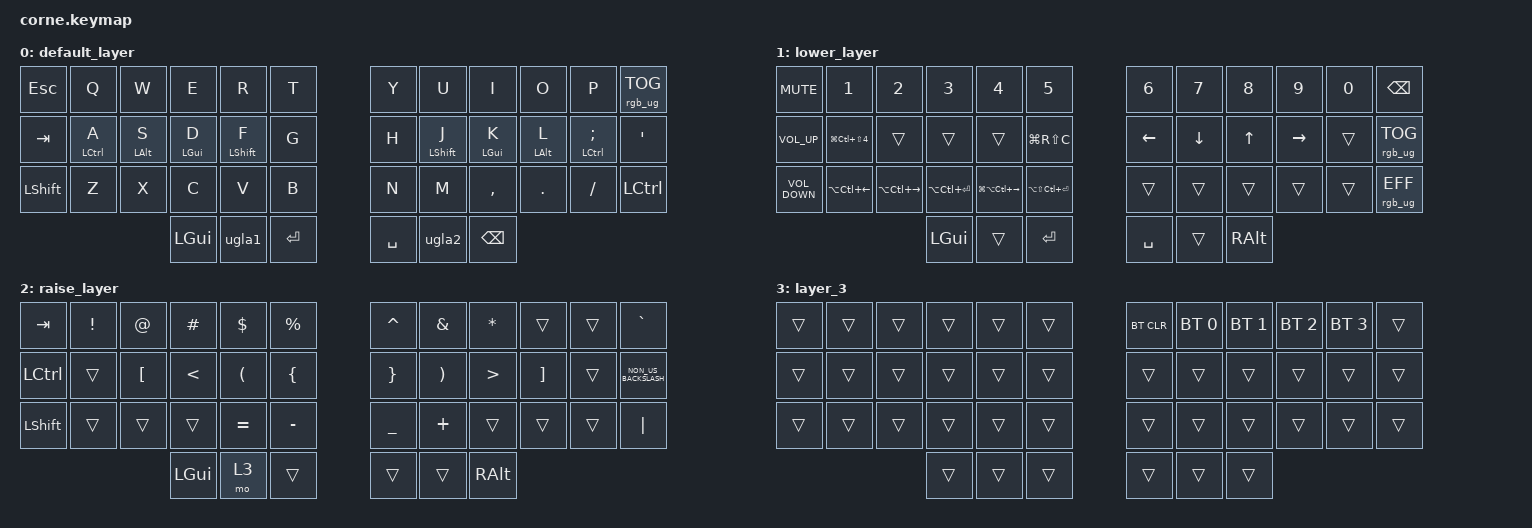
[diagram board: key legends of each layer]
/*
 * Copyright (c) 2020 The ZMK Contributors
 *
 * SPDX-License-Identifier: MIT
 */

#include <behaviors.dtsi>
#include <dt-bindings/zmk/bt.h>
#include <dt-bindings/zmk/keys.h>
#include <dt-bindings/zmk/rgb.h>

/ {
    behaviors {
        hm: hm {
            compatible = "zmk,behavior-hold-tap";
            label = "Homerow mod";
            bindings = <&kp>, <&kp>;

            #binding-cells = <2>;
            tapping-term-ms = <500>;
            quick-tap-ms = <200>;
            flavor = "tap-preferred";
            require-prior-idle-ms = <125>;
        };
    };

    macros {
        ugla1: ugla1 {
            compatible = "zmk,behavior-macro";
            #binding-cells = <0>;
            bindings =
                <&macro_press>,
                <&mo 1>,
                <&macro_tap>,
                <&rgb_ug RGB_COLOR_HSB(213,100,50)>,
                <&macro_tap>,
                <&rgb_ug RGB_ON>,
                <&macro_pause_for_release>,
                <&macro_release>,
                <&mo 1>,
                <&macro_tap>,
                <&rgb_ug RGB_OFF>;

            label = "UGLA1";
            wait-ms = <0>;
        };

        ugla2: ugla2 {
            compatible = "zmk,behavior-macro";
            #binding-cells = <0>;
            bindings =
                <&macro_press>,
                <&mo 2>,
                <&macro_tap>,
                <&rgb_ug RGB_COLOR_HSB(314,100,50)>,
                <&macro_tap>,
                <&rgb_ug RGB_ON>,
                <&macro_pause_for_release>,
                <&macro_release>,
                <&mo 2>,
                <&macro_tap>,
                <&rgb_ug RGB_OFF>;

            label = "UGLA2";
            wait-ms = <0>;
        };

        almostmaximize: almostmaximize {
            compatible = "zmk,behavior-macro";
            #binding-cells = <0>;
            bindings = <&none>;
            label = "ALMOSTMAXIMIZE";
        };
    };

    keymap {
        compatible = "zmk,keymap";

        default_layer {
            // -----------------------------------------------------------------------------------------
            // |  TAB |  Q  |  W  |  E  |  R  |  T  |   |  Y  |  U   |  I  |  O  |  P  | BKSP |
            // | CTRL |  A  |  S  |  D  |  F  |  G  |   |  H  |  J   |  K  |  L  |  ;  |  '   |
            // | SHFT |  Z  |  X  |  C  |  V  |  B  |   |  N  |  M   |  ,  |  .  |  /  | ESC  |
            //                    | GUI | LWR | SPC |   | ENT | RSE  | ALT |

            bindings = <
&kp ESCAPE  &kp Q        &kp W           &kp E           &kp R             &kp T        &kp Y      &kp U             &kp I           &kp O           &kp P                  &rgb_ug RGB_TOG
&kp TAB     &hm LCTRL A  &hm LEFT_ALT S  &hm LEFT_GUI D  &hm LEFT_SHIFT F  &kp G        &kp H      &hm LEFT_SHIFT J  &hm LEFT_GUI K  &hm LEFT_ALT L  &hm LEFT_CONTROL SEMI  &kp SQT
&kp LSHIFT  &kp Z        &kp X           &kp C           &kp V             &kp B        &kp N      &kp M             &kp COMMA       &kp DOT         &kp FSLH               &kp LEFT_CONTROL
                                         &kp LGUI        &ugla1            &kp ENTER    &kp SPACE  &ugla2            &kp BACKSPACE
            >;
        };

        lower_layer {
            // -----------------------------------------------------------------------------------------
            // |  TAB |  1  |  2  |  3  |  4  |  5  |   |  6  |  7  |  8  |  9  |  0  | BKSP |
            // | BTCLR| BT1 | BT2 | BT3 | BT4 | BT5 |   | LFT | DWN |  UP | RGT |     |      |
            // | SHFT |     |     |     |     |     |   |     |     |     |     |     |      |
            //                    | GUI |     | SPC |   | ENT |     | ALT |

            bindings = <
&kp C_MUTE         &kp N1                    &kp N2             &kp N3             &kp N4                 &kp N5                   &kp N6     &kp N7    &kp N8    &kp N9     &kp N0  &kp BSPC
&kp C_VOLUME_UP    &kp LG(LC(LS(NUMBER_4)))  &trans             &trans             &trans                 &kp LG(RS(C))            &kp LEFT   &kp DOWN  &kp UP    &kp RIGHT  &trans  &rgb_ug RGB_TOG
&kp C_VOLUME_DOWN  &kp LA(LC(LEFT))          &kp LA(LC(RIGHT))  &kp LA(LC(ENTER))  &kp LG(LA(LC(RIGHT)))  &kp LA(LS(LC(ENTER)))    &trans     &trans    &trans    &trans     &trans  &rgb_ug RGB_EFF
                                                                &kp LGUI           &trans                 &kp ENTER                &kp SPACE  &trans    &kp RALT
            >;
        };

        raise_layer {
            // -----------------------------------------------------------------------------------------
            // |  TAB |  !  |  @  |  #  |  $  |  %  |   |  ^  |  &  |  *  |  (  |  )  | BKSP |
            // | CTRL |     |     |     |     |     |   |  -  |  =  |  [  |  ]  |  \  |  `   |
            // | SHFT |     |     |     |     |     |   |  _  |  +  |  {  |  }  | "|" |  ~   |
            //                    | GUI |     | SPC |   | ENT |     | ALT |

            bindings = <
&kp TAB    &kp EXCL  &kp AT            &kp HASH       &kp DLLR              &kp PRCNT         &kp CARET        &kp AMPS               &kp ASTRK         &trans    &trans  &kp GRAVE
&kp LCTRL  &trans    &kp LEFT_BRACKET  &kp LESS_THAN  &kp LEFT_PARENTHESIS  &kp LEFT_BRACE    &kp RIGHT_BRACE  &kp RIGHT_PARENTHESIS  &kp GREATER_THAN  &kp RBKT  &trans  &kp NON_US_BACKSLASH
&kp LSHFT  &trans    &trans            &trans         &kp EQUAL             &kp MINUS         &kp UNDER        &kp PLUS               &trans            &trans    &trans  &kp PIPE
                                       &kp LGUI       &mo 3                 &trans            &trans           &trans                 &kp RALT
            >;
        };

        layer_3 {
            bindings = <
&trans  &trans  &trans  &trans  &trans  &trans    &bt BT_CLR  &bt BT_SEL 0  &bt BT_SEL 1  &bt BT_SEL 2  &bt BT_SEL 3  &trans
&trans  &trans  &trans  &trans  &trans  &trans    &trans      &trans        &trans        &trans        &trans        &trans
&trans  &trans  &trans  &trans  &trans  &trans    &trans      &trans        &trans        &trans        &trans        &trans
                        &trans  &trans  &trans    &trans      &trans        &trans
            >;
        };
    };
};
